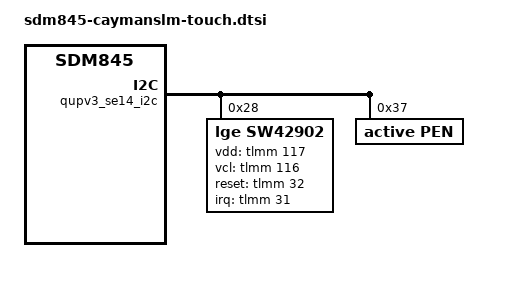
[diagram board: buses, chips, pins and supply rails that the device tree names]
/* Copyright (c) 2017, The Linux Foundation. All rights reserved.
 *
 * This program is free software; you can redistribute it and/or modify
 * it under the terms of the GNU General Public License version 2 and
 * only version 2 as published by the Free Software Foundation.
 *
 * This program is distributed in the hope that it will be useful,
 * but WITHOUT ANY WARRANTY; without even the implied warranty of
 * MERCHANTABILITY or FITNESS FOR A PARTICULAR PURPOSE.  See the
 * GNU General Public License for more details.
 */

#include "../sdm845-caymanslm_common/sdm845-caymanslm_common-touch.dtsi"

&qupv3_se14_i2c {
	status = "okay";
	
		sw42902@28 {
		compatible = "lge,sw42902";
		reg = <0x28>;
		status = "okay";
		interrupt-parent = <&tlmm>;
		interrupts = <31 0x2008>;
		irqflags = <0x00000002>;

		pinctrl-names = "touch_pin_active", "touch_pin_sleep";
		pinctrl-0 = <&ts_reset_active &ts_int_active>;
		pinctrl-1 = <&ts_reset_suspend &ts_int_suspend>;

		vdd-gpio = <&tlmm 117 0x00>;
		vcl-gpio = <&tlmm 116 0x00>;
		reset-gpio = <&tlmm 32 0x00>;
		irq-gpio = <&tlmm 31 0x2008>;

		/* caps */
		max_x = <1080>;
		max_y = <2460>;
		max_pressure = <0xff>;
		max_width_major = <2460>;
		max_width_minor = <2460>;
		max_orientation = <90>;
		max_id = <10>;
		hw_reset_delay = <90>;
		sw_reset_delay = <10>;

		/* role */
		use_lpwg = <1>;
		use_lpwg_test = <1>;
		hide_coordinate = <1>;
		use_activepen_status = <1>;
		use_film_status = <1>;
		use_dex_mode = <1>;

		/* firmware */
		fw_image = "touch/caymanslm/B3W68CAYMAN_3_41.img",
			   "touch/caymanslm/B3W68DS3_0_35.img";

		panel_spec = "touch/caymanslm/cayman_sw42902_limit.txt";
		panel_spec_mfts_folder = "touch/caymanslm/cayman_sw42902_limit.txt";

		/* asc */
		use_asc = <0>;
		low_delta_thres = <350>;
		high_delta_thres = <600>;
		max_delta_cnt = <2>;

		/* Performance Test */
		use_perf_test = <1>;
		test_delay = <8>;
		test_pressure = <50>;
		test_width = <100>;
		click_test_x = <180>;
		click_test_y = <760>;
		v_drag_test_x = <144>;
		v_drag_test_start_y = <2003>;
		v_drag_test_end_y = <1116>;
		h_drag_test_start_x = <1163>;
		h_drag_test_end_x = <276>;
		h_drag_test_y = <2184>;
	};

	/* Temp Slave Address */
	active@37 {
		compatible = "active,pen";
		status = "ok";
		reg = <0x37>;
	};
};
